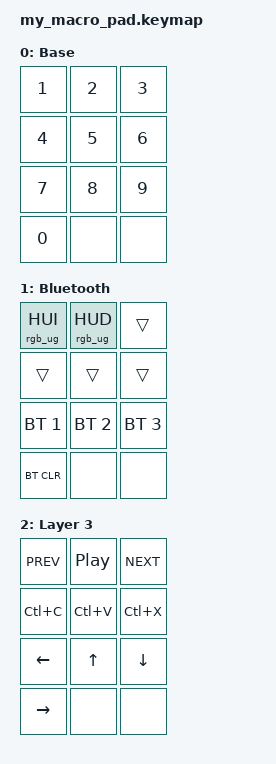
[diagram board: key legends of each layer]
#include <behaviors.dtsi>
#include <dt-bindings/zmk/keys.h>
#include <dt-bindings/zmk/bt.h>
#include <dt-bindings/zmk/rgb.h>

/ {
    keymap {
        compatible = "zmk,keymap";

        base {
            display-name = "Base";
            bindings = <
                &kp N1  &kp N2  &kp N3
                &kp N4  &kp N5  &kp N6
                &kp N7  &kp N8  &kp N9
                &kp N0  &none   &none     // Pad out row 4 if you only have 10 keys
            >;
        };

        bt_layer {
            display-name = "Bluetooth";
            bindings = <
                &rgb_ug RGB_HUI &rgb_ug RGB_HUD &trans
                &trans &trans &trans
                &bt BT_SEL 1 &bt BT_SEL 2 &bt BT_SEL 3
                &bt BT_CLR &none &none
            >;
        };

        layer3 {
            display-name = "Layer 3";
            bindings = <
                &kp C_PREV &kp C_PLAY_PAUSE &kp C_NEXT
                &kp LC(C)   &kp LC(V)        &kp LC(X)
                &kp LEFT    &kp UP           &kp DOWN
                &kp RIGHT   &none            &none
            >;
        };
    };

    combos {
        compatible = "zmk,combos";
        combo_base: combo_base { timeout-ms = <100>; key-positions = <0 1 2>; bindings = <&to 0>; };
        combo_bt: combo_bt { timeout-ms = <100>; key-positions = <3 4 5>; bindings = <&to 1>; };
        combo_l3: combo_l3 { timeout-ms = <100>; key-positions = <6 7 8>; bindings = <&to 2>; };
        combo_studio_unlock: combo_studio_unlock { timeout-ms = <150>; key-positions = <0 1>; bindings = <&studio_unlock>; };
    };
};
